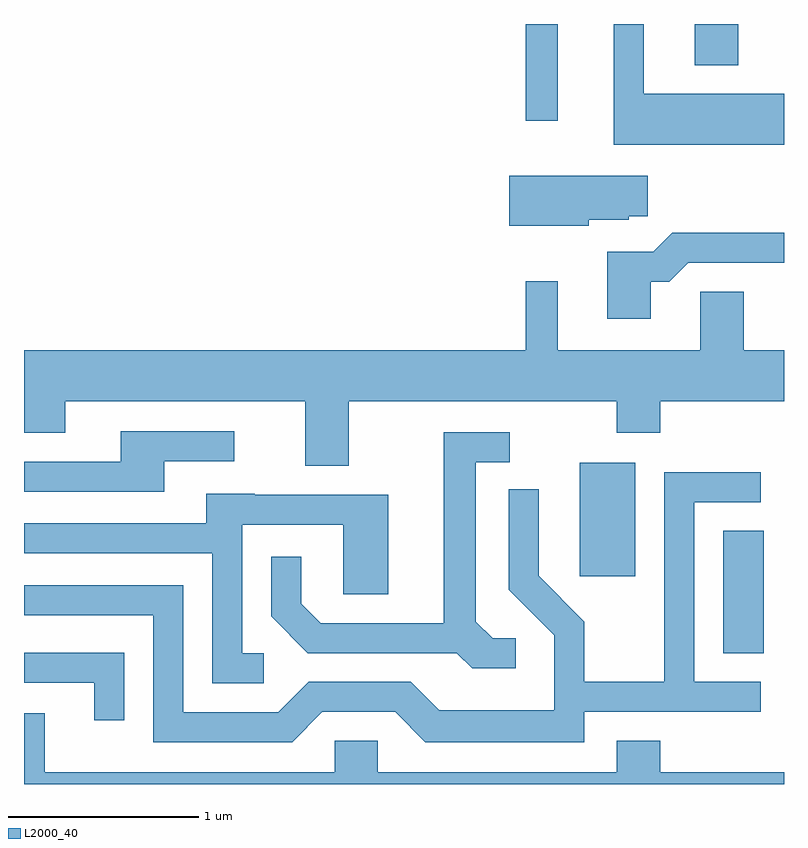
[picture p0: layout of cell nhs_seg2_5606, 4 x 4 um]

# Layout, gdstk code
import gdstk
lib = gdstk.Library(unit=1e-6, precision=1e-09)
def R(c, l, rs):  # rectangles x0, y0, x1, y1
    for r in rs: c.add(gdstk.rectangle(r[:2], r[2:], *l))
def P(c, l, *ps):  # polygons
    for p in ps: c.add(gdstk.Polygon(p, *l))
L2000_40 = (2000, 40)

nhs_seg2_5606 = lib.new_cell('nhs_seg2_5606')
R(nhs_seg2_5606, L2000_40, [(353.291,1102.491,353.504,1103.134), (352.536,1102.896,352.829,1103.494), (352.251,1105.293,352.419,1105.802), (353.141,1105.586,353.369,1105.802)])
P(nhs_seg2_5606, L2000_40, [(353.611,1105.434),(352.874,1105.434),(352.874,1105.802),(352.716,1105.802),(352.716,1105.166),(353.611,1105.166)],
  [(352.584,1104.771),(352.794,1104.771),(352.794,1104.791),(352.894,1104.791),(352.894,1105.004),(352.166,1105.004),(352.166,1104.741),(352.584,1104.741)],
  [(352.909,1104.446),(353.007,1104.446),(353.107,1104.546),(353.611,1104.546),(353.611,1104.704),(353.024,1104.704),(352.924,1104.604),(352.681,1104.604),(352.681,1104.251),(352.909,1104.251)],
  [(351.319,1103.816),(352.731,1103.816),(352.731,1103.651),(352.959,1103.651),(352.959,1103.816),(353.611,1103.816),(353.611,1104.084),(353.399,1104.084),(353.399,1104.394),(353.171,1104.394),(353.171,1104.084),(352.419,1104.084),(352.419,1104.448),(352.251,1104.448),(352.251,1104.084),(349.611,1104.084),(349.611,1103.651),(349.829,1103.651),(349.829,1103.816),(351.091,1103.816),(351.091,1103.476),(351.319,1103.476)],
  [(350.349,1103.501),(350.718,1103.501),(350.718,1103.659),(350.121,1103.659),(350.121,1103.499),(349.611,1103.499),(349.611,1103.341),(350.349,1103.341)],
  [(352.198,1102.569),(352.077,1102.569),(351.989,1102.657),(351.989,1103.496),(352.168,1103.496),(352.168,1103.654),(351.821,1103.654),(351.821,1102.649),(351.172,1102.649),(351.069,1102.752),(351.069,1102.998),(350.911,1102.998),(350.911,1102.684),(351.104,1102.491),(351.889,1102.491),(351.969,1102.411),(352.198,1102.411)],
  [(351.182,1102.181),(351.564,1102.181),(351.724,1102.021),(352.559,1102.021),(352.559,1102.181),(353.488,1102.181),(353.488,1102.339),(353.139,1102.339),(353.139,1103.286),(353.488,1103.286),(353.488,1103.444),(352.981,1103.444),(352.981,1102.339),(352.559,1102.339),(352.559,1102.657),(352.319,1102.897),(352.319,1103.353),(352.161,1103.353),(352.161,1102.824),(352.401,1102.584),(352.401,1102.189),(351.797,1102.189),(351.647,1102.339),(351.109,1102.339),(350.949,1102.179),(350.449,1102.179),(350.449,1102.849),(349.611,1102.849),(349.611,1102.691),(350.291,1102.691),(350.291,1102.021),(351.022,1102.021)],
  [(350.873,1102.489),(350.759,1102.489),(350.759,1103.166),(351.291,1103.166),(351.291,1102.801),(351.529,1102.801),(351.529,1103.324),(350.825,1103.324),(350.825,1103.329),(350.571,1103.329),(350.571,1103.174),(349.611,1103.174),(349.611,1103.016),(350.601,1103.016),(350.601,1102.331),(350.873,1102.331)],
  [(350.139,1102.494),(349.611,1102.494),(349.611,1102.336),(349.981,1102.336),(349.981,1102.138),(350.139,1102.138)],
  [(353.611,1101.864),(352.959,1101.864),(352.959,1102.029),(352.731,1102.029),(352.731,1101.864),(351.474,1101.864),(351.474,1102.029),(351.246,1102.029),(351.246,1101.864),(349.719,1101.864),(349.719,1102.174),(349.611,1102.174),(349.611,1101.802),(353.611,1101.802)])

lib.write_gds('nhs_seg2_5606.gds')
